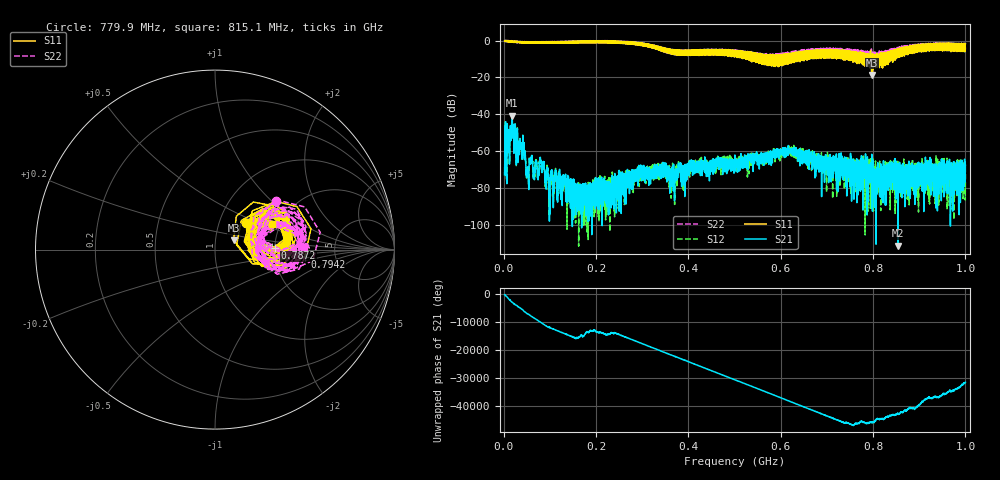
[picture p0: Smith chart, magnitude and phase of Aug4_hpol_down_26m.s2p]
!Keysight Technologies N9923A: A.12.45
!Date: Tuesday, 05 August 2025 18:32:42
!Timezone: (UTC+08:00) Kuala Lumpur, Singapore
!Model: N9923A
!Serial: MY61181427
!GPS Latitude:
!GPS Longitude:
!GPS TimeStamp: 0001-01-01 00:00:00Z
!GPS Seconds Since Last Read: 0
!CHECKSUM:0275604769
!Correction: S11(ON U)S21(ON U)S12(ON U)S22(ON U)
!S2P File: Measurements:S11,S21,S12,S22:
# Hz S DB R 50
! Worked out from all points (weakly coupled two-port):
!   4001 points, 2 MHz to 1 GHz, reference 50 ohm
!   highest |S21| = -40.76 dB at 17.97 MHz (marker M1); lowest = -111.5 dB at 854.3 MHz (marker M2)
!   lowest |S11| = -18.7 dB at 796.9 MHz (marker M3), VSWR 1.26, Z = 61.2 + j6.44 ohm
!   |S11| at or under -10 dB: 569.09 MHz to 569.873 MHz (783 kHz wide, 0.137 % of centre); 575.8428 MHz to 576.6572 MHz (814.4 kHz wide, 0.141 % of centre); 584.2457 MHz to 585.1028 MHz (857.1 kHz wide, 0.147 % of centre)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
!   |S22| runs from -13.8 to 0.1 dB; largest |S21 - S12| = 0.0012
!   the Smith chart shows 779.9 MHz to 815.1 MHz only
!   S11 on the Smith chart (normalised r, x): 779.9 MHz: 1.34, +0.41; 787.2 MHz: 2.00, +0.03; 794.2 MHz: 2.98, -0.31; 815.1 MHz: 1.80, +0.58
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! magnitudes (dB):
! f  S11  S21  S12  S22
! 2 MHz  -0.1  -72.9  -73.2  -0.1
! 6.99 MHz  -0.1  -73.1  -73.3  -0.1
! 17.97 MHz  -0.6  -40.8  -40.7  -0.7
! 39.67 MHz  -0.9  -62.7  -62.8  -0.9
! 52.65 MHz  -1.4  -68.8  -69.0  -1.3
! 82.34 MHz  -0.9  -71.6  -70.5  -0.7
! 95.06 MHz  -0.8  -69.8  -69.7  -0.8
! 168.4 MHz  -1.2  -81.7  -82.8  -1.0
! 334.8 MHz  -4.0  -73.4  -71.3  -4.7
! 365.8 MHz  -6.0  -71.0  -66.6  -5.3
! 501 MHz  -6.0  -65.3  -68.5  -6.9
! 619 MHz  -7.5  -59.5  -61.5  -8.5
! 667.4 MHz  -8.7  -64.3  -63.1  -8.3
! 779.9 MHz  -13.0  -65.1  -71.0  -7.3
! 787.2 MHz  -9.5  -94.7  -68.8  -12.0
! 794.2 MHz  -6.0  -70.9  -91.1  -10.5
! 796.9 MHz  -18.7  -69.5  -71.1  -7.1
! 815.1 MHz  -9.2  -76.7  -71.6  -6.1
! 833.8 MHz  -9.0  -71.4  -66.4  -5.5
! 854.3 MHz  -8.9  -111.5  -71.5  -5.2
! 970.8 MHz  -3.7  -74.3  -73.1  -4.9
! 1 GHz  -1.7  -67.5  -72.4  -3.2
